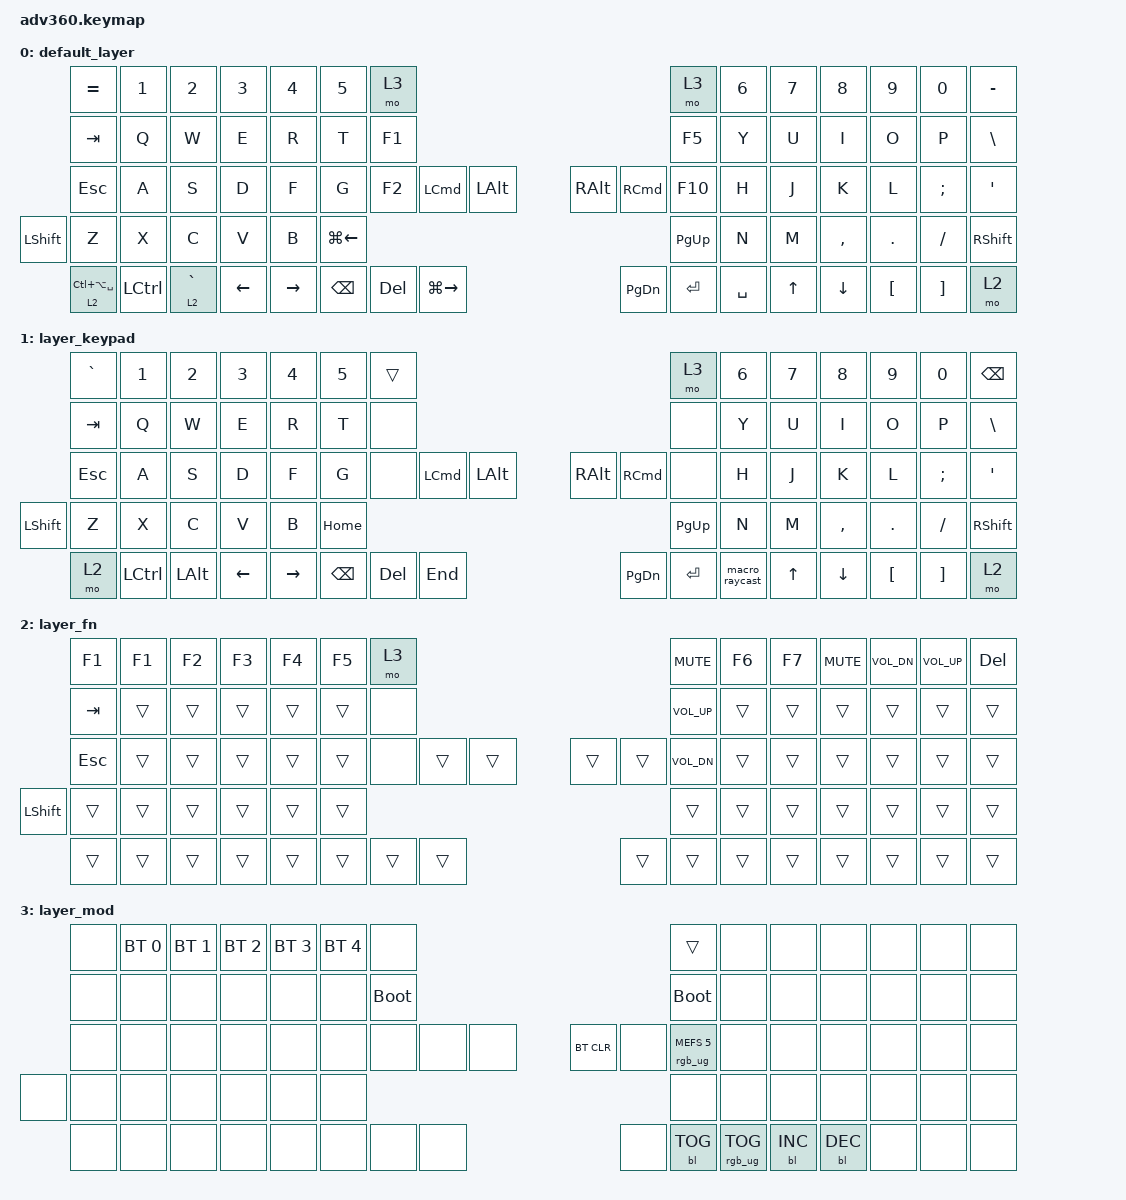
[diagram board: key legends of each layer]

/*
 * Copyright (c) 2020 The ZMK Contributors
 *
 * SPDX-License-Identifier: MIT
 */


/* THIS FILE WAS GENERATED!
 *
 * This file was generated automatically. You may or may not want to
 * edit it directly.
 */

#include <behaviors.dtsi>
#include <dt-bindings/zmk/keys.h>
#include <dt-bindings/zmk/bt.h>
#include <dt-bindings/zmk/rgb.h>
#include <dt-bindings/zmk/backlight.h>

/ {
  behaviors {
    #include "macros.dtsi"
    #include "version.dtsi"

    hm: homerow_mods {
        compatible = "zmk,behavior-hold-tap";
        label = "HOMEROW_MODS";
        #binding-cells = <2>;
        tapping-term-ms = <200>;
        quick_tap_ms = <175>;
        flavor = "tap-preferred";
        bindings = <&kp>, <&kp>;
    };
  };

    keymap {
        compatible = "zmk,keymap";


        default_layer {
            bindings = <
           &kp EQUAL     &kp N1       &kp N2    &kp N3     &kp N4  &kp N5               &mo 3                                                                                     &mo 3  &kp N6  &kp N7     &kp N8    &kp N9    &kp N0  &kp MINUS
             &kp TAB      &kp Q        &kp W     &kp E      &kp R   &kp T              &kp F1                                                                                    &kp F5   &kp Y   &kp U      &kp I     &kp O     &kp P   &kp BSLH
             &kp ESC      &kp A        &kp S     &kp D      &kp F   &kp G              &kp F2  &kp LEFT_COMMAND       &kp LALT                   &kp RALT  &kp RIGHT_COMMAND    &kp F10   &kp H   &kp J      &kp K     &kp L  &kp SEMI    &kp SQT
           &kp LSHFT      &kp Z        &kp X     &kp C      &kp V   &kp B                                         &kp LG(LEFT)                  &kp PG_UP                                 &kp N   &kp M  &kp COMMA   &kp DOT  &kp FSLH  &kp RSHFT
 &lt 2 LC(LA(SPACE))  &kp LCTRL  &lt 2 GRAVE  &kp LEFT  &kp RIGHT                    &kp BSPC           &kp DEL  &kp LG(RIGHT)                  &kp PG_DN          &kp ENTER  &kp SPACE          &kp UP   &kp DOWN  &kp LBKT  &kp RBKT      &mo 2
            >;
        };

        layer_keypad {
            bindings = <
 &kp GRAVE     &kp N1    &kp N2    &kp N3     &kp N4  &kp N5              &trans                                                                                     &mo 3  &kp N6  &kp N7     &kp N8    &kp N9    &kp N0   &kp BSPC
   &kp TAB      &kp Q     &kp W     &kp E      &kp R   &kp T               &none                                                                                     &none   &kp Y   &kp U      &kp I     &kp O     &kp P   &kp BSLH
   &kp ESC      &kp A     &kp S     &kp D      &kp F   &kp G               &none  &kp LEFT_COMMAND  &kp LALT                   &kp RALT  &kp RIGHT_COMMAND           &none   &kp H   &kp J      &kp K     &kp L  &kp SEMI    &kp SQT
 &kp LSHFT      &kp Z     &kp X     &kp C      &kp V   &kp B                                        &kp HOME                  &kp PG_UP                                      &kp N   &kp M  &kp COMMA   &kp DOT  &kp FSLH  &kp RSHFT
     &mo 2  &kp LCTRL  &kp LALT  &kp LEFT  &kp RIGHT                    &kp BSPC           &kp DEL   &kp END                  &kp PG_DN          &kp ENTER  &macro_raycast          &kp UP   &kp DOWN  &kp LBKT  &kp RBKT      &mo 2
            >;
        };

        layer_fn {
            bindings = <
         &kp F1  &kp F1  &kp F2  &kp F3  &kp F4  &kp F5             &mo 3                                                    &kp C_MUTE  &kp F6  &kp F7  &kp C_MUTE  &kp C_VOL_DN  &kp C_VOL_UP  &kp DELETE
        &kp TAB  &trans  &trans  &trans  &trans  &trans             &none                                                  &kp C_VOL_UP  &trans  &trans      &trans        &trans        &trans      &trans
        &kp ESC  &trans  &trans  &trans  &trans  &trans             &none  &trans  &trans                  &trans  &trans  &kp C_VOL_DN  &trans  &trans      &trans        &trans        &trans      &trans
 &kp LEFT_SHIFT  &trans  &trans  &trans  &trans  &trans                            &trans                  &trans                        &trans  &trans      &trans        &trans        &trans      &trans
         &trans  &trans  &trans  &trans  &trans                    &trans  &trans  &trans                  &trans  &trans        &trans          &trans      &trans        &trans        &trans      &trans
            >;
        };

        layer_mod {
            bindings = <
  &none  &bt BT_SEL 0  &bt BT_SEL 1  &bt BT_SEL 2  &bt BT_SEL 3  &bt BT_SEL 4                  &none                                                                          &trans   &none       &none       &none   &none   &none   &none
  &none         &none         &none         &none         &none         &none            &bootloader                                                                     &bootloader   &none       &none       &none   &none   &none   &none
  &none         &none         &none         &none         &none         &none                  &none   &none   &none                  &bt BT_CLR       &none  &rgb_ug RGB_MEFS_CMD 5   &none       &none       &none   &none   &none   &none
  &none         &none         &none         &none         &none         &none                                  &none                       &none                                       &none       &none       &none   &none   &none   &none
  &none         &none         &none         &none         &none                                &none   &none   &none                       &none  &bl BL_TOG         &rgb_ug RGB_TOG          &bl BL_INC  &bl BL_DEC   &none   &none   &none
            >;
        };

    };
};
